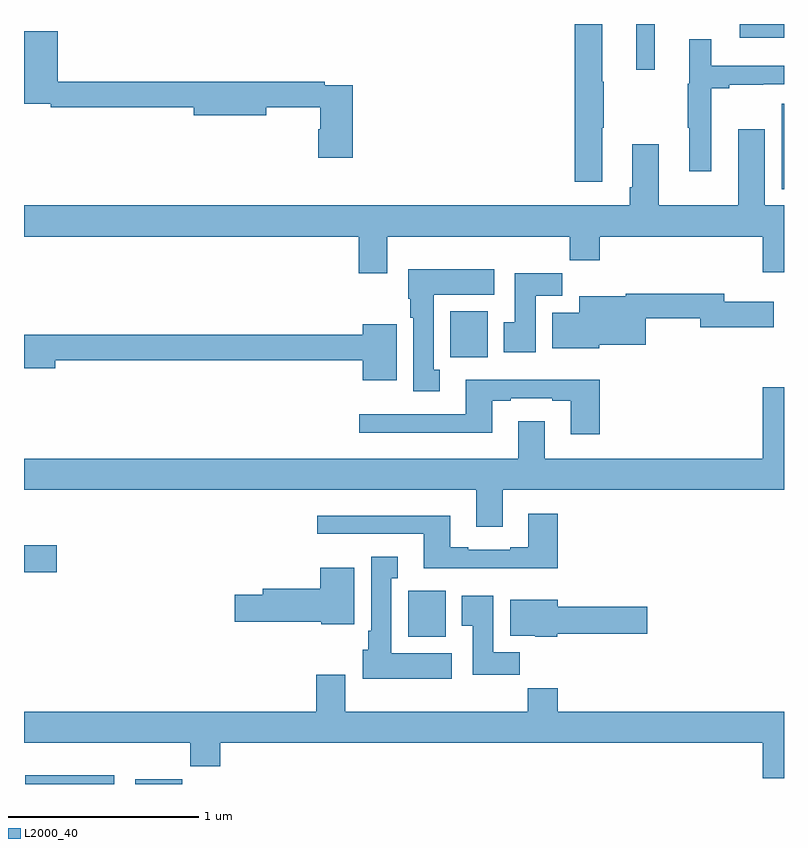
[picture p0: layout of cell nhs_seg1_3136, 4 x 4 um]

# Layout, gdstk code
import gdstk
lib = gdstk.Library(unit=1e-6, precision=1e-09)
def R(c, l, rs):  # rectangles x0, y0, x1, y1
    for r in rs: c.add(gdstk.rectangle(r[:2], r[2:], *l))
def P(c, l, *ps):  # polygons
    for p in ps: c.add(gdstk.Polygon(p, *l))
L2000_40 = (2000, 40)

nhs_seg1_3136 = lib.new_cell('nhs_seg1_3136')
R(nhs_seg1_3136, L2000_40, [(281.006,534.199,281.476,534.244), (281.585,534.199,281.834,534.223), (283.022,534.974,283.219,535.216), (281,535.313,281.173,535.455), (283.244,536.444,283.441,536.686), (284.987,537.329,285,537.778), (284.222,537.957,284.319,538.199), (284.768,538.127,285,538.199)])
P(nhs_seg1_3136, L2000_40, [(284.044,537.652),(284.052,537.652),(284.052,537.896),(284.044,537.896),(284.044,538.199),(283.898,538.199),(283.898,537.369),(284.044,537.369)],
  [(282.731,537.876),(282.584,537.876),(282.584,537.896),(281.177,537.896),(281.177,538.162),(281,538.162),(281,537.78),(281.14,537.78),(281.14,537.76),(281.894,537.76),(281.894,537.718),(282.274,537.718),(282.274,537.76),(282.56,537.76),(282.56,537.645),(282.548,537.645),(282.548,537.495),(282.731,537.495)],
  [(284.617,537.862),(284.713,537.862),(284.713,537.88),(284.891,537.88),(284.891,537.882),(285,537.882),(285,537.979),(284.617,537.979),(284.617,538.12),(284.501,538.12),(284.501,537.885),(284.494,537.885),(284.494,537.652),(284.501,537.652),(284.501,537.423),(284.617,537.423)],
  [(282.913,537.08),(283.873,537.08),(283.873,536.956),(284.03,536.956),(284.03,537.08),(284.888,537.08),(284.888,536.892),(285,536.892),(285,537.244),(284.899,537.244),(284.899,537.646),(284.759,537.646),(284.759,537.244),(284.341,537.244),(284.341,537.565),(284.201,537.565),(284.201,537.34),(284.189,537.34),(284.189,537.244),(281,537.244),(281,537.08),(282.761,537.08),(282.761,536.886),(282.913,536.886)],
  [(283.189,536.378),(283.156,536.378),(283.156,536.774),(283.474,536.774),(283.474,536.908),(283.022,536.908),(283.022,536.754),(283.034,536.754),(283.034,536.654),(283.049,536.654),(283.049,536.265),(283.189,536.265)],
  [(283.693,536.768),(283.832,536.768),(283.832,536.887),(283.583,536.887),(283.583,536.628),(283.526,536.628),(283.526,536.472),(283.693,536.472)],
  [(284.028,536.51),(284.272,536.51),(284.272,536.65),(284.558,536.65),(284.558,536.603),(284.947,536.603),(284.947,536.737),(284.686,536.737),(284.686,536.779),(284.168,536.779),(284.168,536.767),(283.922,536.767),(283.922,536.68),(283.781,536.68),(283.781,536.492),(284.028,536.492)],
  [(282.961,536.62),(282.782,536.62),(282.782,536.564),(281,536.564),(281,536.386),(281.164,536.386),(281.164,536.428),(282.782,536.428),(282.782,536.324),(282.961,536.324)],
  [(284.03,536.326),(283.325,536.326),(283.325,536.145),(282.765,536.145),(282.765,536.048),(283.465,536.048),(283.465,536.217),(283.561,536.217),(283.561,536.229),(283.781,536.229),(283.781,536.217),(283.877,536.217),(283.877,536.04),(284.03,536.04)],
  [(283.519,535.748),(285,535.748),(285,536.287),(284.888,536.287),(284.888,535.912),(283.741,535.912),(283.741,536.107),(283.601,536.107),(283.601,535.912),(281,535.912),(281,535.748),(283.379,535.748),(283.379,535.554),(283.519,535.554)],
  [(283.808,535.621),(283.655,535.621),(283.655,535.444),(283.559,535.444),(283.559,535.431),(283.339,535.431),(283.339,535.444),(283.243,535.444),(283.243,535.612),(282.543,535.612),(282.543,535.515),(283.103,535.515),(283.103,535.334),(283.808,535.334)],
  [(283.252,534.886),(282.934,534.886),(282.934,535.283),(282.967,535.283),(282.967,535.396),(282.827,535.396),(282.827,535.006),(282.812,535.006),(282.812,534.906),(282.782,534.906),(282.782,534.752),(283.252,534.752)],
  [(282.739,535.336),(282.56,535.336),(282.56,535.226),(282.257,535.226),(282.257,535.196),(282.108,535.196),(282.108,535.054),(282.564,535.054),(282.564,535.04),(282.739,535.04)],
  [(283.61,534.892),(283.471,534.892),(283.471,535.189),(283.304,535.189),(283.304,535.033),(283.361,535.033),(283.361,534.774),(283.61,534.774)],
  [(283.806,534.991),(284.281,534.991),(284.281,535.133),(283.81,535.133),(283.81,535.168),(283.559,535.168),(283.559,534.98),(283.692,534.98),(283.692,534.974),(283.806,534.974)],
  [(285,534.58),(283.808,534.58),(283.808,534.704),(283.651,534.704),(283.651,534.58),(282.691,534.58),(282.691,534.775),(282.539,534.775),(282.539,534.58),(281,534.58),(281,534.416),(281.875,534.416),(281.875,534.292),(282.032,534.292),(282.032,534.416),(284.888,534.416),(284.888,534.228),(285,534.228)])

lib.write_gds('nhs_seg1_3136.gds')
